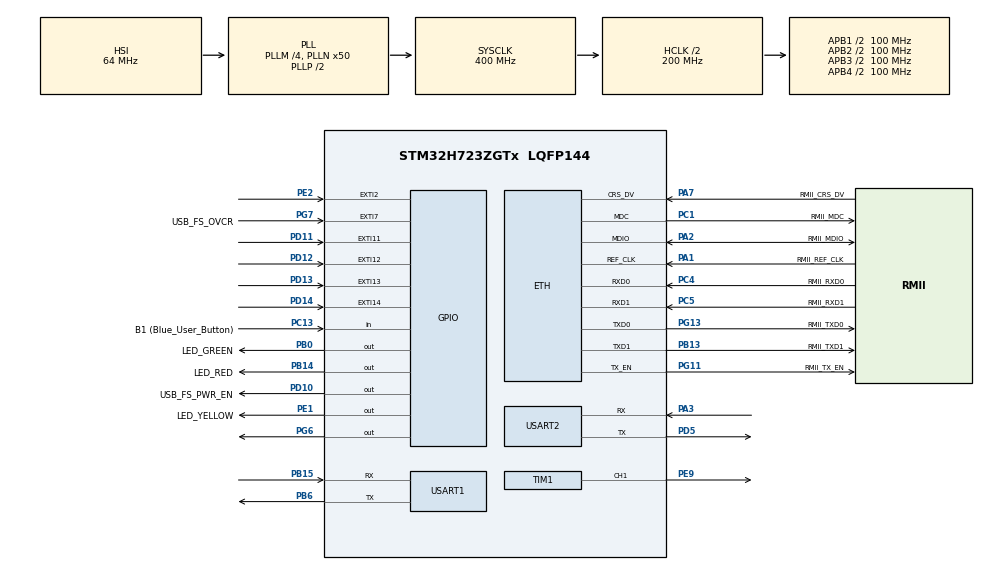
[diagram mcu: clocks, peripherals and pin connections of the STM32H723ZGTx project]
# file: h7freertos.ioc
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CORTEX_M7.AccessPermission-Cortex_Memory_Protection_Unit_Region0_Settings=MPU_REGION_FULL_ACCESS
CORTEX_M7.AccessPermission-Cortex_Memory_Protection_Unit_Region1_Settings=MPU_REGION_FULL_ACCESS
CORTEX_M7.BaseAddress-Cortex_Memory_Protection_Unit_Region0_Settings=0x30000000
CORTEX_M7.BaseAddress-Cortex_Memory_Protection_Unit_Region1_Settings=0x30004000
CORTEX_M7.CPU_DCache=Enabled
CORTEX_M7.CPU_ICache=Enabled
CORTEX_M7.DisableExec-Cortex_Memory_Protection_Unit_Region0_Settings=MPU_INSTRUCTION_ACCESS_ENABLE
CORTEX_M7.DisableExec-Cortex_Memory_Protection_Unit_Region1_Settings=MPU_INSTRUCTION_ACCESS_ENABLE
CORTEX_M7.Enable-Cortex_Memory_Protection_Unit_Region0_Settings=MPU_REGION_ENABLE
CORTEX_M7.Enable-Cortex_Memory_Protection_Unit_Region1_Settings=MPU_REGION_ENABLE
CORTEX_M7.IsBufferable-Cortex_Memory_Protection_Unit_Region0_Settings=MPU_ACCESS_BUFFERABLE
CORTEX_M7.IsBufferable-Cortex_Memory_Protection_Unit_Region1_Settings=MPU_ACCESS_NOT_BUFFERABLE
CORTEX_M7.IsShareable-Cortex_Memory_Protection_Unit_Region1_Settings=MPU_ACCESS_SHAREABLE
CORTEX_M7.MPU_Control=MPU_PRIVILEGED_DEFAULT
CORTEX_M7.Size-Cortex_Memory_Protection_Unit_Region0_Settings=MPU_REGION_SIZE_256B
CORTEX_M7.Size-Cortex_Memory_Protection_Unit_Region1_Settings=MPU_REGION_SIZE_16KB
CORTEX_M7.TypeExtField-Cortex_Memory_Protection_Unit_Region0_Settings=MPU_TEX_LEVEL0
CORTEX_M7.TypeExtField-Cortex_Memory_Protection_Unit_Region1_Settings=MPU_TEX_LEVEL1
Dma.Request0=USART1_TX
Dma.USART1_TX.0.Direction=DMA_MEMORY_TO_PERIPH
Dma.USART1_TX.0.EventEnable=DISABLE
Dma.USART1_TX.0.FIFOMode=DMA_FIFOMODE_DISABLE
Dma.USART1_TX.0.Instance=DMA1_Stream0
Dma.USART1_TX.0.MemDataAlignment=DMA_MDATAALIGN_BYTE
Dma.USART1_TX.0.MemInc=DMA_MINC_ENABLE
Dma.USART1_TX.0.Mode=DMA_NORMAL
Dma.USART1_TX.0.PeriphDataAlignment=DMA_PDATAALIGN_BYTE
Dma.USART1_TX.0.PeriphInc=DMA_PINC_DISABLE
Dma.USART1_TX.0.Polarity=HAL_DMAMUX_REQ_GEN_RISING
Dma.USART1_TX.0.Priority=DMA_PRIORITY_LOW
Dma.USART1_TX.0.RequestNumber=1
Dma.USART1_TX.0.SignalID=NONE
Dma.USART1_TX.0.SyncEnable=DISABLE
Dma.USART1_TX.0.SyncPolarity=HAL_DMAMUX_SYNC_NO_EVENT
Dma.USART1_TX.0.SyncRequestNumber=1
Dma.USART1_TX.0.SyncSignalID=NONE
ETH.MediaInterface=HAL_ETH_RMII_MODE
ETH.RxDescAddress=0x30000000
FREERTOS.Tasks01=defaultTask,0,256,StartDefaultTask,Default,NULL,Dynamic,NULL,NULL
FREERTOS.configCHECK_FOR_STACK_OVERFLOW=2
FREERTOS.configMINIMAL_STACK_SIZE=256
FREERTOS.configTOTAL_HEAP_SIZE=32768
LWIP.BSP.number=1
LWIP.CHECKSUM_CHECK_ICMP=1
LWIP.CHECKSUM_GEN_ICMP=1
LWIP.CHECKSUM_GEN_TCP=1
LWIP.GATEWAY_ADDRESS=169.254.024.255
LWIP.IP_ADDRESS=169.254.024.157
LWIP.LWIP_DHCP=0
LWIP.LWIP_HTTPD=0
LWIP.LWIP_RAM_HEAP_POINTER=0x30004000
LWIP.MEM_SIZE=1600
LWIP.NETMASK_ADDRESS=255.255.255.000
LWIP.Version=v2.1.2_Cube
LWIP0.BSP.STBoard=false
LWIP0.BSP.api=BSP_COMPONENT_DRIVER
LWIP0.BSP.component=LAN8742
LWIP0.BSP.i2caddr=0
LWIP0.BSP.instance=LAN8742
LWIP0.BSP.name=Driver_PHY
LWIP0.BSP.solution=LAN8742
Mcu.Family=STM32H7
Mcu.Name=STM32H723ZGTx
Mcu.Package=LQFP144
NVIC.DMA1_Stream0_IRQn=true\:5\:0\:false\:false\:true\:true\:false\:true
NVIC.ETH_IRQn=true\:5\:0\:false\:false\:true\:true\:true\:true
NVIC.EXTI15_10_IRQn=true\:5\:0\:true\:false\:true\:true\:true\:true
NVIC.EXTI2_IRQn=true\:5\:0\:true\:false\:true\:true\:true\:true
NVIC.EXTI9_5_IRQn=true\:5\:0\:false\:false\:true\:true\:true\:true
NVIC.PriorityGroup=NVIC_PRIORITYGROUP_4
NVIC.TIM6_DAC_IRQn=true\:0\:0\:false\:false\:true\:false\:false\:true
NVIC.TimeBase=TIM6_DAC_IRQn
NVIC.TimeBaseIP=TIM6
NVIC.USART1_IRQn=true\:5\:0\:false\:false\:true\:true\:true\:true
PA1.GPIO_Label=RMII_REF_CLK
PA1.GPIO_Speed=GPIO_SPEED_FREQ_VERY_HIGH
PA1.Mode=RMII
PA1.Signal=ETH_REF_CLK
PA10.GPIO_Label=USB_FS_ID
PA10.Signal=USB_OTG_HS_ID
PA13(JTMS/SWDIO).GPIO_Label=SWDIO
PA13(JTMS/SWDIO).Signal=DEBUG_JTMS-SWDIO
PA14(JTCK/SWCLK).GPIO_Label=SWCLK
PA14(JTCK/SWCLK).Signal=DEBUG_JTCK-SWCLK
PA2.GPIO_Label=RMII_MDIO
PA2.GPIO_Speed=GPIO_SPEED_FREQ_VERY_HIGH
PA2.Mode=RMII
PA2.Signal=ETH_MDIO
PA3.Mode=Asynchronous
PA3.Signal=USART2_RX
PA7.GPIO_Label=RMII_CRS_DV
PA7.GPIO_Speed=GPIO_SPEED_FREQ_VERY_HIGH
PA7.Mode=RMII
PA7.Signal=ETH_CRS_DV
PA9.GPIO_Label=USB_FS_VBUS
PA9.Signal=USB_OTG_HS_VBUS
PB0.GPIO_Label=LED_GREEN
PB0.Signal=GPIO_Output
PB13.GPIO_Label=RMII_TXD1
PB13.GPIO_Speed=GPIO_SPEED_FREQ_VERY_HIGH
PB13.Mode=RMII
PB13.Signal=ETH_TXD1
PB14.GPIO_Label=LED_RED
PB14.Signal=GPIO_Output
PB15.Mode=Asynchronous
PB15.Signal=USART1_RX
PB3(JTDO/TRACESWO).GPIO_Label=SWO
PB3(JTDO/TRACESWO).Signal=DEBUG_JTDO-SWO
PB6.Mode=Asynchronous
PB6.Signal=USART1_TX
PC1.GPIO_Label=RMII_MDC
PC1.GPIO_Speed=GPIO_SPEED_FREQ_VERY_HIGH
PC1.Mode=RMII
PC1.Signal=ETH_MDC
PC13.GPIO_Label=B1 (Blue_User_Button)
PC13.Signal=GPIO_Input
PC14-OSC32_IN.Mode=LSE-External-Oscillator
PC14-OSC32_IN.Signal=RCC_OSC32_IN
PC15-OSC32_OUT.Mode=LSE-External-Oscillator
PC15-OSC32_OUT.Signal=RCC_OSC32_OUT
PC4.GPIO_Label=RMII_RXD0
PC4.GPIO_Speed=GPIO_SPEED_FREQ_VERY_HIGH
PC4.Mode=RMII
PC4.Signal=ETH_RXD0
PC5.GPIO_Label=RMII_RXD1
PC5.GPIO_Speed=GPIO_SPEED_FREQ_VERY_HIGH
PC5.Mode=RMII
PC5.Signal=ETH_RXD1
PD10.GPIO_Label=USB_FS_PWR_EN
PD10.Signal=GPIO_Output
PD11.Signal=GPXTI11
PD12.Signal=GPXTI12
PD13.Signal=GPXTI13
PD14.Signal=GPXTI14
PD5.Mode=Asynchronous
PD5.Signal=USART2_TX
PD8.GPIO_Label=STLK_VCP_RX
PD8.Signal=USART3_TX
PD9.GPIO_Label=STLK_VCP_TX
PD9.Signal=USART3_RX
PE1.GPIO_Label=LED_YELLOW
PE1.Signal=GPIO_Output
PE2.Signal=GPXTI2
PE9.Signal=S_TIM1_CH1
PG11.GPIO_Label=RMII_TX_EN
PG11.GPIO_Speed=GPIO_SPEED_FREQ_VERY_HIGH
PG11.Mode=RMII
PG11.Signal=ETH_TX_EN
PG13.GPIO_Label=RMII_TXD0
PG13.GPIO_Speed=GPIO_SPEED_FREQ_VERY_HIGH
PG13.Mode=RMII
PG13.Signal=ETH_TXD0
PG6.GPIO_PuPd=GPIO_PULLDOWN
PG6.GPIO_Speed=GPIO_SPEED_FREQ_HIGH
PG6.Signal=GPIO_Output
PG7.GPIO_Label=USB_FS_OVCR
PG7.Signal=GPXTI7
PH0-OSC_IN.GPIO_Label=MCO
PH0-OSC_IN.Mode=HSE-External-Clock-Source
PH0-OSC_IN.Signal=RCC_OSC_IN
PH1-OSC_OUT.Signal=RCC_OSC_OUT
ProjectManager.HeapSize=0x2000
ProjectManager.StackSize=0x4000
ProjectManager.TargetToolchain=STM32CubeIDE
RCC.ADCFreq_Value=608000000
RCC.APB1Freq_Value=100000000
RCC.APB2Freq_Value=100000000
RCC.APB3Freq_Value=100000000
RCC.APB4Freq_Value=100000000
RCC.CortexFreq_Value=400000000
RCC.D1PPRE=RCC_APB3_DIV2
RCC.D2PPRE1=RCC_APB1_DIV2
RCC.D2PPRE2=RCC_APB2_DIV2
RCC.D3PPRE=RCC_APB4_DIV2
RCC.DIVM1=4
RCC.DIVM2=1
RCC.DIVN1=50
RCC.DIVN2=19
RCC.DIVQ1=4
RCC.HCLKFreq_Value=200000000
RCC.HPRE=RCC_HCLK_DIV2
RCC.HSE_VALUE=8000000
RCC.PLLFRACN=0
RCC.SYSCLKFreq_VALUE=400000000
RCC.SYSCLKSource=RCC_SYSCLKSOURCE_PLLCLK
RCC.USBCLockSelection=RCC_USBCLKSOURCE_HSI48
RCC.USBFreq_Value=48000000
SH.S_TIM1_CH1.0=TIM1_CH1,PWM Generation1 CH1
TIM1.Channel-PWM\ Generation1\ CH1=TIM_CHANNEL_1
USART1.VirtualMode-Asynchronous=VM_ASYNC
USART2.VirtualMode-Asynchronous=VM_ASYNC
VP_FREERTOS_VS_CMSIS_V1.Mode=CMSIS_V1
VP_LWIP_VS_Enabled.Mode=Enabled
VP_RNG_VS_RNG.Mode=RNG_Activate
VP_RTC_VS_RTC_Activate.Mode=RTC_Enabled
VP_SYS_VS_tim6.Mode=TIM6
VP_TIM1_VS_ClockSourceINT.Mode=Internal
board=NUCLEO-H723ZG

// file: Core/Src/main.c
/* USER CODE BEGIN Header */
/**
  ******************************************************************************
  * @file           : main.c
  * @brief          : Main program body
  ******************************************************************************
  * @attention
  *
  * <h2><center>&copy; Copyright (c) 2021 STMicroelectronics.
  * All rights reserved.</center></h2>
  *
  * This software component is licensed by ST under Ultimate Liberty license
  * SLA0044, the "License"; You may not use this file except in compliance with
  * the License. You may obtain a copy of the License at:
  *                             www.st.com/SLA0044
  *
  ******************************************************************************
  */
/* USER CODE END Header */
#include "main.h"
#include "cmsis_os.h"
#include "lwip.h"

/* USER CODE BEGIN Includes */
#include <string.h>
#include "cmsis_os.h"
#include "lwip.h"
#include "lwip/api.h"
/* USER CODE END Includes */

RNG_HandleTypeDef hrng;

RTC_HandleTypeDef hrtc;

TIM_HandleTypeDef htim1;

UART_HandleTypeDef huart1;
UART_HandleTypeDef huart2;
DMA_HandleTypeDef hdma_usart1_tx;

osThreadId defaultTaskHandle;
/* USER CODE BEGIN PV */
osThreadId echoTaskHandle;
osThreadId tcpClientTask;
extern struct netif gnetif;
osThreadId tcpClientTaskHandle;
ip_addr_t server_addr;
/* USER CODE END PV */

void SystemClock_Config(void);
static void MPU_Config(void);
static void MX_GPIO_Init(void);
static void MX_DMA_Init(void);
static void MX_RNG_Init(void);
static void MX_RTC_Init(void);
static void MX_USART1_UART_Init(void);
static void MX_TIM1_Init(void);
static void MX_USART2_UART_Init(void);
void StartDefaultTask(void const * argument);

/* USER CODE BEGIN PFP */
#define SERVER_IP_1_ADDR 169
#define SERVER_IP_2_ADDR 254
#define SERVER_IP_3_ADDR 24
#define SERVER_IP_4_ADDR 21
#define SERVER_PORT 	 1001
/* USER CODE END PFP */

/* USER CODE BEGIN 0 */

typedef enum
{
  REQ = 0,
  RESP = 1
} packet_type;

void StartEchoTask(void const *argument)
{
  struct netconn *conn, *newconn;
  err_t err, accept_err;
  struct netbuf *buf;
  void *data;
  u16_t len;

  LWIP_UNUSED_ARG(argument);

  conn = netconn_new(NETCONN_TCP);

  if (conn != NULL) {
    err = netconn_bind(conn, NULL, 1001);

    if (err == ERR_OK) {
      netconn_listen(conn);

      while (1) {
        accept_err = netconn_accept(conn, &newconn);

        if (accept_err == ERR_OK) {
          while (netconn_recv(newconn, &buf) == ERR_OK) {
            do {
              netbuf_data(buf, &data, &len);
              netconn_write(newconn, data, len, NETCONN_COPY);
        	  HAL_UART_Transmit(&huart1, (uint8_t*)data, len, 1000);
              HAL_GPIO_TogglePin(GPIOB, GPIO_PIN_0);
            }
            while (netbuf_next(buf) >= 0);
            netbuf_delete(buf);
          }

          netconn_close(newconn);
          netconn_delete(newconn);
        }
      }
    }
    else {
      netconn_delete(newconn);
    }
  }
}

uint8_t recData[100] = {0x00};

void StartTcpClientTask(void const *argument)
{
  err_t err;
  struct netconn *conn;
  struct netbuf *buf;
  void *data;
  uint16_t len; //buffer length

  LWIP_UNUSED_ARG(argument);

  while (1)
  {
    if (gnetif.ip_addr.addr == 0 || gnetif.netmask.addr == 0 || gnetif.gw.addr == 0) {
      osDelay(1000);
      continue;
    }
    else {
      osDelay(20);
    }

    conn = netconn_new(NETCONN_TCP);

    if (conn != NULL) {
      IP4_ADDR(&server_addr, SERVER_IP_1_ADDR, SERVER_IP_2_ADDR, SERVER_IP_3_ADDR, SERVER_IP_4_ADDR);
      err = netconn_connect(conn, &server_addr, SERVER_PORT);

      if (err != ERR_OK) {
        netconn_delete(conn);
        continue;
      }
  	  HAL_UART_Transmit(&huart1, (uint8_t*)"zzz\r\n", 5, 1000);

  	  while (netconn_recv(conn, &buf) == ERR_OK) {
  		  do {
  	          netbuf_data(buf, &data, &len);
  	          memcpy(recData, data, len);

  	          netconn_write(conn, data, len, NETCONN_COPY);
  	          HAL_UART_Transmit(&huart1, (uint8_t*)"REC: ", 5, 1000);
  	    	  HAL_UART_Transmit(&huart1, (uint8_t*)&recData[0], len, 1000);
  	          HAL_UART_Transmit(&huart1, (uint8_t*)"\r\n", 2, 1000);
  	          HAL_GPIO_TogglePin(GPIOB, GPIO_PIN_0);

  	          if(recData[0] == 'c' && recData[1] == 'l' && recData[2] == 'o') {
  	    		  HAL_UART_Transmit(&huart1, (uint8_t*)"CLOSE", 5, 1000);
  	    	      netconn_close(conn);
  	    		  netconn_delete(conn);
  	    	  }

  	        } while (netbuf_next(buf) >= 0);
  	        netbuf_delete(buf);
  	   }

       netconn_close(conn);
	   netconn_delete(conn);

    }
  }
}

void StartServerTask(void)
{
	osThreadDef(echoTask, StartEchoTask, osPriorityNormal, 0, configMINIMAL_STACK_SIZE);
	echoTaskHandle = osThreadCreate(osThread(echoTask), NULL);
}

void StartClientTask(void)
{
	osThreadDef(tcpClientTask, StartTcpClientTask, osPriorityNormal, 0, configMINIMAL_STACK_SIZE);
	tcpClientTaskHandle = osThreadCreate(osThread(tcpClientTask), NULL);
}

/* USER CODE END 0 */

int main(void)
{

  /* MPU Configuration--------------------------------------------------------*/
  //MPU_Config();

  /* Enable I-Cache---------------------------------------------------------*/
  //SCB_EnableICache();

  /* Enable D-Cache---------------------------------------------------------*/
  //SCB_EnableDCache();

  /* MCU Configuration--------------------------------------------------------*/

  /* Reset of all peripherals, Initializes the Flash interface and the Systick. */
  HAL_Init();

  /* Configure the system clock */
  SystemClock_Config();

  /* Initialize all configured peripherals */
  MX_GPIO_Init();
  MX_DMA_Init();
  MX_RNG_Init();
  MX_RTC_Init();
  MX_USART1_UART_Init();
  MX_TIM1_Init();
  MX_USART2_UART_Init();

  /* Create the thread(s) */
  /* definition and creation of defaultTask */
  osThreadDef(defaultTask, StartDefaultTask, osPriorityNormal, 0, 256);
  defaultTaskHandle = osThreadCreate(osThread(defaultTask), NULL);

  /* Start scheduler */
  osKernelStart();

  /* We should never get here as control is now taken by the scheduler */
  /* Infinite loop */
  while (1)
  {

  }
}

void SystemClock_Config(void)
{
  RCC_OscInitTypeDef RCC_OscInitStruct = {0};
  RCC_ClkInitTypeDef RCC_ClkInitStruct = {0};
  RCC_PeriphCLKInitTypeDef PeriphClkInitStruct = {0};

  /** Supply configuration update enable
  */
  HAL_PWREx_ConfigSupply(PWR_LDO_SUPPLY);
  /** Configure the main internal regulator output voltage
  */
  __HAL_PWR_VOLTAGESCALING_CONFIG(PWR_REGULATOR_VOLTAGE_SCALE1);

  while(!__HAL_PWR_GET_FLAG(PWR_FLAG_VOSRDY)) {}
  /** Initializes the RCC Oscillators according to the specified parameters
  * in the RCC_OscInitTypeDef structure.
  */
  RCC_OscInitStruct.OscillatorType = RCC_OSCILLATORTYPE_HSI48|RCC_OSCILLATORTYPE_HSI
                              |RCC_OSCILLATORTYPE_LSI;
  RCC_OscInitStruct.HSIState = RCC_HSI_DIV1;
  RCC_OscInitStruct.HSICalibrationValue = RCC_HSICALIBRATION_DEFAULT;
  RCC_OscInitStruct.LSIState = RCC_LSI_ON;
  RCC_OscInitStruct.HSI48State = RCC_HSI48_ON;
  RCC_OscInitStruct.PLL.PLLState = RCC_PLL_ON;
  RCC_OscInitStruct.PLL.PLLSource = RCC_PLLSOURCE_HSI;
  RCC_OscInitStruct.PLL.PLLM = 4;
  RCC_OscInitStruct.PLL.PLLN = 50;
  RCC_OscInitStruct.PLL.PLLP = 2;
  RCC_OscInitStruct.PLL.PLLQ = 4;
  RCC_OscInitStruct.PLL.PLLR = 2;
  RCC_OscInitStruct.PLL.PLLRGE = RCC_PLL1VCIRANGE_3;
  RCC_OscInitStruct.PLL.PLLVCOSEL = RCC_PLL1VCOWIDE;
  RCC_OscInitStruct.PLL.PLLFRACN = 0;
  if (HAL_RCC_OscConfig(&RCC_OscInitStruct) != HAL_OK)
  {
    Error_Handler();
  }
  /** Initializes the CPU, AHB and APB buses clocks
  */
  RCC_ClkInitStruct.ClockType = RCC_CLOCKTYPE_HCLK|RCC_CLOCKTYPE_SYSCLK
                              |RCC_CLOCKTYPE_PCLK1|RCC_CLOCKTYPE_PCLK2
                              |RCC_CLOCKTYPE_D3PCLK1|RCC_CLOCKTYPE_D1PCLK1;
  RCC_ClkInitStruct.SYSCLKSource = RCC_SYSCLKSOURCE_PLLCLK;
  RCC_ClkInitStruct.SYSCLKDivider = RCC_SYSCLK_DIV1;
  RCC_ClkInitStruct.AHBCLKDivider = RCC_HCLK_DIV2;
  RCC_ClkInitStruct.APB3CLKDivider = RCC_APB3_DIV2;
  RCC_ClkInitStruct.APB1CLKDivider = RCC_APB1_DIV2;
  RCC_ClkInitStruct.APB2CLKDivider = RCC_APB2_DIV2;
  RCC_ClkInitStruct.APB4CLKDivider = RCC_APB4_DIV2;

  if (HAL_RCC_ClockConfig(&RCC_ClkInitStruct, FLASH_LATENCY_2) != HAL_OK)
  {
    Error_Handler();
  }
  PeriphClkInitStruct.PeriphClockSelection = RCC_PERIPHCLK_RTC|RCC_PERIPHCLK_USART2
                              |RCC_PERIPHCLK_USART1|RCC_PERIPHCLK_RNG;
  PeriphClkInitStruct.Usart234578ClockSelection = RCC_USART234578CLKSOURCE_D2PCLK1;
  PeriphClkInitStruct.Usart16ClockSelection = RCC_USART16910CLKSOURCE_D2PCLK2;
  PeriphClkInitStruct.RngClockSelection = RCC_RNGCLKSOURCE_HSI48;
  PeriphClkInitStruct.RTCClockSelection = RCC_RTCCLKSOURCE_LSI;
  if (HAL_RCCEx_PeriphCLKConfig(&PeriphClkInitStruct) != HAL_OK)
  {
    Error_Handler();
  }
}

static void MX_RNG_Init(void)
{

  hrng.Instance = RNG;
  hrng.Init.ClockErrorDetection = RNG_CED_ENABLE;
  if (HAL_RNG_Init(&hrng) != HAL_OK)
  {
    Error_Handler();
  }

}

static void MX_RTC_Init(void)
{

  /** Initialize RTC Only
  */
  hrtc.Instance = RTC;
  hrtc.Init.HourFormat = RTC_HOURFORMAT_24;
  hrtc.Init.AsynchPrediv = 127;
  hrtc.Init.SynchPrediv = 255;
  hrtc.Init.OutPut = RTC_OUTPUT_DISABLE;
  hrtc.Init.OutPutPolarity = RTC_OUTPUT_POLARITY_HIGH;
  hrtc.Init.OutPutType = RTC_OUTPUT_TYPE_OPENDRAIN;
  hrtc.Init.OutPutRemap = RTC_OUTPUT_REMAP_NONE;
  if (HAL_RTC_Init(&hrtc) != HAL_OK)
  {
    Error_Handler();
  }

}

static void MX_TIM1_Init(void)
{

  TIM_ClockConfigTypeDef sClockSourceConfig = {0};
  TIM_MasterConfigTypeDef sMasterConfig = {0};
  TIM_OC_InitTypeDef sConfigOC = {0};
  TIM_BreakDeadTimeConfigTypeDef sBreakDeadTimeConfig = {0};

  htim1.Instance = TIM1;
  htim1.Init.Prescaler = 0;
  htim1.Init.CounterMode = TIM_COUNTERMODE_UP;
  htim1.Init.Period = 65535;
  htim1.Init.ClockDivision = TIM_CLOCKDIVISION_DIV1;
  htim1.Init.RepetitionCounter = 0;
  htim1.Init.AutoReloadPreload = TIM_AUTORELOAD_PRELOAD_DISABLE;
  if (HAL_TIM_Base_Init(&htim1) != HAL_OK)
  {
    Error_Handler();
  }
  sClockSourceConfig.ClockSource = TIM_CLOCKSOURCE_INTERNAL;
  if (HAL_TIM_ConfigClockSource(&htim1, &sClockSourceConfig) != HAL_OK)
  {
    Error_Handler();
  }
  if (HAL_TIM_PWM_Init(&htim1) != HAL_OK)
  {
    Error_Handler();
  }
  sMasterConfig.MasterOutputTrigger = TIM_TRGO_RESET;
  sMasterConfig.MasterOutputTrigger2 = TIM_TRGO2_RESET;
  sMasterConfig.MasterSlaveMode = TIM_MASTERSLAVEMODE_DISABLE;
  if (HAL_TIMEx_MasterConfigSynchronization(&htim1, &sMasterConfig) != HAL_OK)
  {
    Error_Handler();
  }
  sConfigOC.OCMode = TIM_OCMODE_PWM1;
  sConfigOC.Pulse = 0;
  sConfigOC.OCPolarity = TIM_OCPOLARITY_HIGH;
  sConfigOC.OCNPolarity = TIM_OCNPOLARITY_HIGH;
  sConfigOC.OCFastMode = TIM_OCFAST_DISABLE;
  sConfigOC.OCIdleState = TIM_OCIDLESTATE_RESET;
  sConfigOC.OCNIdleState = TIM_OCNIDLESTATE_RESET;
  if (HAL_TIM_PWM_ConfigChannel(&htim1, &sConfigOC, TIM_CHANNEL_1) != HAL_OK)
  {
    Error_Handler();
  }
  sBreakDeadTimeConfig.OffStateRunMode = TIM_OSSR_DISABLE;
  sBreakDeadTimeConfig.OffStateIDLEMode = TIM_OSSI_DISABLE;
  sBreakDeadTimeConfig.LockLevel = TIM_LOCKLEVEL_OFF;
  sBreakDeadTimeConfig.DeadTime = 0;
  sBreakDeadTimeConfig.BreakState = TIM_BREAK_DISABLE;
  sBreakDeadTimeConfig.BreakPolarity = TIM_BREAKPOLARITY_HIGH;
  sBreakDeadTimeConfig.BreakFilter = 0;
  sBreakDeadTimeConfig.Break2State = TIM_BREAK2_DISABLE;
  sBreakDeadTimeConfig.Break2Polarity = TIM_BREAK2POLARITY_HIGH;
  sBreakDeadTimeConfig.Break2Filter = 0;
  sBreakDeadTimeConfig.AutomaticOutput = TIM_AUTOMATICOUTPUT_DISABLE;
  if (HAL_TIMEx_ConfigBreakDeadTime(&htim1, &sBreakDeadTimeConfig) != HAL_OK)
  {
    Error_Handler();
  }
  HAL_TIM_MspPostInit(&htim1);

}

static void MX_USART1_UART_Init(void)
{

  huart1.Instance = USART1;
  huart1.Init.BaudRate = 115200;
  huart1.Init.WordLength = UART_WORDLENGTH_8B;
  huart1.Init.StopBits = UART_STOPBITS_1;
  huart1.Init.Parity = UART_PARITY_NONE;
  huart1.Init.Mode = UART_MODE_TX_RX;
  huart1.Init.HwFlowCtl = UART_HWCONTROL_NONE;
  huart1.Init.OverSampling = UART_OVERSAMPLING_16;
  huart1.Init.OneBitSampling = UART_ONE_BIT_SAMPLE_DISABLE;
  huart1.Init.ClockPrescaler = UART_PRESCALER_DIV1;
  huart1.AdvancedInit.AdvFeatureInit = UART_ADVFEATURE_NO_INIT;
  if (HAL_UART_Init(&huart1) != HAL_OK)
  {
    Error_Handler();
  }
  if (HAL_UARTEx_SetTxFifoThreshold(&huart1, UART_TXFIFO_THRESHOLD_1_8) != HAL_OK)
  {
    Error_Handler();
  }
  if (HAL_UARTEx_SetRxFifoThreshold(&huart1, UART_RXFIFO_THRESHOLD_1_8) != HAL_OK)
  {
    Error_Handler();
  }
  if (HAL_UARTEx_DisableFifoMode(&huart1) != HAL_OK)
  {
    Error_Handler();
  }

}

static void MX_USART2_UART_Init(void)
{

  huart2.Instance = USART2;
  huart2.Init.BaudRate = 115200;
  huart2.Init.WordLength = UART_WORDLENGTH_8B;
  huart2.Init.StopBits = UART_STOPBITS_1;
  huart2.Init.Parity = UART_PARITY_NONE;
  huart2.Init.Mode = UART_MODE_TX_RX;
  huart2.Init.HwFlowCtl = UART_HWCONTROL_NONE;
  huart2.Init.OverSampling = UART_OVERSAMPLING_16;
  huart2.Init.OneBitSampling = UART_ONE_BIT_SAMPLE_DISABLE;
  huart2.Init.ClockPrescaler = UART_PRESCALER_DIV1;
  huart2.AdvancedInit.AdvFeatureInit = UART_ADVFEATURE_NO_INIT;
  if (HAL_UART_Init(&huart2) != HAL_OK)
  {
    Error_Handler();
  }
  if (HAL_UARTEx_SetTxFifoThreshold(&huart2, UART_TXFIFO_THRESHOLD_1_8) != HAL_OK)
  {
    Error_Handler();
  }
  if (HAL_UARTEx_SetRxFifoThreshold(&huart2, UART_RXFIFO_THRESHOLD_1_8) != HAL_OK)
  {
    Error_Handler();
  }
  if (HAL_UARTEx_DisableFifoMode(&huart2) != HAL_OK)
  {
    Error_Handler();
  }

}

static void MX_DMA_Init(void)
{

  /* DMA controller clock enable */
  __HAL_RCC_DMA1_CLK_ENABLE();

  /* DMA interrupt init */
  /* DMA1_Stream0_IRQn interrupt configuration */
  HAL_NVIC_SetPriority(DMA1_Stream0_IRQn, 5, 0);
  HAL_NVIC_EnableIRQ(DMA1_Stream0_IRQn);

}

static void MX_GPIO_Init(void)
{
  GPIO_InitTypeDef GPIO_InitStruct = {0};

  /* GPIO Ports Clock Enable */
  __HAL_RCC_GPIOE_CLK_ENABLE();
  __HAL_RCC_GPIOC_CLK_ENABLE();
  __HAL_RCC_GPIOH_CLK_ENABLE();
  __HAL_RCC_GPIOA_CLK_ENABLE();
  __HAL_RCC_GPIOB_CLK_ENABLE();
  __HAL_RCC_GPIOD_CLK_ENABLE();
  __HAL_RCC_GPIOG_CLK_ENABLE();

  /*Configure GPIO pin Output Level */
  HAL_GPIO_WritePin(GPIOB, LED_GREEN_Pin|LED_RED_Pin, GPIO_PIN_RESET);

  /*Configure GPIO pin Output Level */
  HAL_GPIO_WritePin(USB_FS_PWR_EN_GPIO_Port, USB_FS_PWR_EN_Pin, GPIO_PIN_RESET);

  /*Configure GPIO pin Output Level */
  HAL_GPIO_WritePin(GPIOG, GPIO_PIN_6, GPIO_PIN_RESET);

  /*Configure GPIO pin Output Level */
  HAL_GPIO_WritePin(LED_YELLOW_GPIO_Port, LED_YELLOW_Pin, GPIO_PIN_RESET);

  /*Configure GPIO pin : PE2 */
  GPIO_InitStruct.Pin = GPIO_PIN_2;
  GPIO_InitStruct.Mode = GPIO_MODE_IT_RISING;
  GPIO_InitStruct.Pull = GPIO_NOPULL;
  HAL_GPIO_Init(GPIOE, &GPIO_InitStruct);

  /*Configure GPIO pin : B1_Pin */
  GPIO_InitStruct.Pin = B1_Pin;
  GPIO_InitStruct.Mode = GPIO_MODE_INPUT;
  GPIO_InitStruct.Pull = GPIO_NOPULL;
  HAL_GPIO_Init(B1_GPIO_Port, &GPIO_InitStruct);

  /*Configure GPIO pins : LED_GREEN_Pin LED_RED_Pin */
  GPIO_InitStruct.Pin = LED_GREEN_Pin|LED_RED_Pin;
  GPIO_InitStruct.Mode = GPIO_MODE_OUTPUT_PP;
  GPIO_InitStruct.Pull = GPIO_NOPULL;
  GPIO_InitStruct.Speed = GPIO_SPEED_FREQ_LOW;
  HAL_GPIO_Init(GPIOB, &GPIO_InitStruct);

  /*Configure GPIO pins : STLK_VCP_RX_Pin STLK_VCP_TX_Pin */
  GPIO_InitStruct.Pin = STLK_VCP_RX_Pin|STLK_VCP_TX_Pin;
  GPIO_InitStruct.Mode = GPIO_MODE_AF_PP;
  GPIO_InitStruct.Pull = GPIO_NOPULL;
  GPIO_InitStruct.Speed = GPIO_SPEED_FREQ_LOW;
  GPIO_InitStruct.Alternate = GPIO_AF7_USART3;
  HAL_GPIO_Init(GPIOD, &GPIO_InitStruct);

  /*Configure GPIO pin : USB_FS_PWR_EN_Pin */
  GPIO_InitStruct.Pin = USB_FS_PWR_EN_Pin;
  GPIO_InitStruct.Mode = GPIO_MODE_OUTPUT_PP;
  GPIO_InitStruct.Pull = GPIO_NOPULL;
  GPIO_InitStruct.Speed = GPIO_SPEED_FREQ_LOW;
  HAL_GPIO_Init(USB_FS_PWR_EN_GPIO_Port, &GPIO_InitStruct);

  /*Configure GPIO pins : PD11 PD12 PD13 PD14 */
  GPIO_InitStruct.Pin = GPIO_PIN_11|GPIO_PIN_12|GPIO_PIN_13|GPIO_PIN_14;
  GPIO_InitStruct.Mode = GPIO_MODE_IT_RISING;
  GPIO_InitStruct.Pull = GPIO_NOPULL;
  HAL_GPIO_Init(GPIOD, &GPIO_InitStruct);

  /*Configure GPIO pin : PG6 */
  GPIO_InitStruct.Pin = GPIO_PIN_6;
  GPIO_InitStruct.Mode = GPIO_MODE_OUTPUT_PP;
  GPIO_InitStruct.Pull = GPIO_PULLDOWN;
  GPIO_InitStruct.Speed = GPIO_SPEED_FREQ_HIGH;
  HAL_GPIO_Init(GPIOG, &GPIO_InitStruct);

  /*Configure GPIO pin : USB_FS_OVCR_Pin */
  GPIO_InitStruct.Pin = USB_FS_OVCR_Pin;
  GPIO_InitStruct.Mode = GPIO_MODE_IT_RISING;
  GPIO_InitStruct.Pull = GPIO_NOPULL;
  HAL_GPIO_Init(USB_FS_OVCR_GPIO_Port, &GPIO_InitStruct);

  /*Configure GPIO pin : USB_FS_ID_Pin */
  GPIO_InitStruct.Pin = USB_FS_ID_Pin;
  GPIO_InitStruct.Mode = GPIO_MODE_AF_PP;
  GPIO_InitStruct.Pull = GPIO_NOPULL;
  GPIO_InitStruct.Speed = GPIO_SPEED_FREQ_LOW;
  GPIO_InitStruct.Alternate = GPIO_AF10_OTG1_HS;
  HAL_GPIO_Init(USB_FS_ID_GPIO_Port, &GPIO_InitStruct);

  /*Configure GPIO pin : LED_YELLOW_Pin */
  GPIO_InitStruct.Pin = LED_YELLOW_Pin;
  GPIO_InitStruct.Mode = GPIO_MODE_OUTPUT_PP;
  GPIO_InitStruct.Pull = GPIO_NOPULL;
  GPIO_InitStruct.Speed = GPIO_SPEED_FREQ_LOW;
  HAL_GPIO_Init(LED_YELLOW_GPIO_Port, &GPIO_InitStruct);

  /* EXTI interrupt init*/
  HAL_NVIC_SetPriority(EXTI2_IRQn, 5, 0);
  HAL_NVIC_EnableIRQ(EXTI2_IRQn);

  HAL_NVIC_SetPriority(EXTI9_5_IRQn, 5, 0);
  HAL_NVIC_EnableIRQ(EXTI9_5_IRQn);

  HAL_NVIC_SetPriority(EXTI15_10_IRQn, 5, 0);
  HAL_NVIC_EnableIRQ(EXTI15_10_IRQn);

}

void StartDefaultTask(void const * argument)
{
  /* init code for LWIP */
  MX_LWIP_Init();
  /* USER CODE BEGIN 5 */
  //osThreadDef(echoTask, StartEchoTask, osPriorityNormal, 0, configMINIMAL_STACK_SIZE);
  //echoTaskHandle = osThreadCreate(osThread(echoTask), NULL);
  //GPIOE->BSRR = (uint32_t)GPIO_PIN_1 << 16U;
  //StartServerTask();
  StartClientTask();
  /* Infinite loop */
  for(;;)
  {
	  osDelay(500);
  }
  /* USER CODE END 5 */
}

/* MPU Configuration */

void MPU_Config(void)
{
  MPU_Region_InitTypeDef MPU_InitStruct = {0};

  /* Disables the MPU */
  HAL_MPU_Disable();
  /** Initializes and configures the Region and the memory to be protected
  */
  MPU_InitStruct.Enable = MPU_REGION_ENABLE;
  MPU_InitStruct.Number = MPU_REGION_NUMBER0;
  MPU_InitStruct.BaseAddress = 0x30000000;
  MPU_InitStruct.Size = MPU_REGION_SIZE_256B;
  MPU_InitStruct.SubRegionDisable = 0x0;
  MPU_InitStruct.TypeExtField = MPU_TEX_LEVEL0;
  MPU_InitStruct.AccessPermission = MPU_REGION_FULL_ACCESS;
  MPU_InitStruct.DisableExec = MPU_INSTRUCTION_ACCESS_ENABLE;
  MPU_InitStruct.IsShareable = MPU_ACCESS_NOT_SHAREABLE;
  MPU_InitStruct.IsCacheable = MPU_ACCESS_NOT_CACHEABLE;
  MPU_InitStruct.IsBufferable = MPU_ACCESS_BUFFERABLE;

  HAL_MPU_ConfigRegion(&MPU_InitStruct);
  /** Initializes and configures the Region and the memory to be protected
  */
  MPU_InitStruct.Enable = MPU_REGION_ENABLE;
  MPU_InitStruct.Number = MPU_REGION_NUMBER1;
  MPU_InitStruct.BaseAddress = 0x30004000;
  MPU_InitStruct.Size = MPU_REGION_SIZE_16KB;
  MPU_InitStruct.SubRegionDisable = 0x0;
  MPU_InitStruct.TypeExtField = MPU_TEX_LEVEL1;
  MPU_InitStruct.AccessPermission = MPU_REGION_FULL_ACCESS;
  MPU_InitStruct.DisableExec = MPU_INSTRUCTION_ACCESS_ENABLE;
  MPU_InitStruct.IsShareable = MPU_ACCESS_SHAREABLE;
  MPU_InitStruct.IsCacheable = MPU_ACCESS_NOT_CACHEABLE;
  MPU_InitStruct.IsBufferable = MPU_ACCESS_NOT_BUFFERABLE;

  HAL_MPU_ConfigRegion(&MPU_InitStruct);
  /* Enables the MPU */
  HAL_MPU_Enable(MPU_PRIVILEGED_DEFAULT);

}
void HAL_TIM_PeriodElapsedCallback(TIM_HandleTypeDef *htim)
{
  if (htim->Instance == TIM6) {
    HAL_IncTick();
  }
}

void Error_Handler(void)
{
  __disable_irq();
  while (1)
  {
  }
}

/************************ (C) COPYRIGHT STMicroelectronics *****END OF FILE****/

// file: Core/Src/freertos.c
/* USER CODE BEGIN Header */
/**
  ******************************************************************************
  * File Name          : freertos.c
  * Description        : Code for freertos applications
  ******************************************************************************
  * @attention
  *
  * <h2><center>&copy; Copyright (c) 2021 STMicroelectronics.
  * All rights reserved.</center></h2>
  *
  * This software component is licensed by ST under Ultimate Liberty license
  * SLA0044, the "License"; You may not use this file except in compliance with
  * the License. You may obtain a copy of the License at:
  *                             www.st.com/SLA0044
  *
  ******************************************************************************
  */
/* USER CODE END Header */

#include "FreeRTOS.h"
#include "task.h"
#include "main.h"

/* USER CODE BEGIN FunctionPrototypes */
/* GetIdleTaskMemory prototype (linked to static allocation support) */
void vApplicationGetIdleTaskMemory( StaticTask_t **ppxIdleTaskTCBBuffer, StackType_t **ppxIdleTaskStackBuffer, uint32_t *pulIdleTaskStackSize );

/* Hook prototypes */
void vApplicationStackOverflowHook(xTaskHandle xTask, signed char *pcTaskName);
/* USER CODE END FunctionPrototypes */

/* GetIdleTaskMemory prototype (linked to static allocation support) */
void vApplicationGetIdleTaskMemory( StaticTask_t **ppxIdleTaskTCBBuffer, StackType_t **ppxIdleTaskStackBuffer, uint32_t *pulIdleTaskStackSize );

/* Hook prototypes */
void vApplicationStackOverflowHook(xTaskHandle xTask, signed char *pcTaskName);

/* USER CODE BEGIN 4 */
void vApplicationStackOverflowHook(xTaskHandle xTask, signed char *pcTaskName)
{
   /* Run time stack overflow checking is performed if
   configCHECK_FOR_STACK_OVERFLOW is defined to 1 or 2. This hook function is
   called if a stack overflow is detected. */
   GPIOE->BSRR = GPIO_PIN_1;
}
/* USER CODE END 4 */

/* USER CODE BEGIN GET_IDLE_TASK_MEMORY */
static StaticTask_t xIdleTaskTCBBuffer;
static StackType_t xIdleStack[configMINIMAL_STACK_SIZE];

void vApplicationGetIdleTaskMemory( StaticTask_t **ppxIdleTaskTCBBuffer, StackType_t **ppxIdleTaskStackBuffer, uint32_t *pulIdleTaskStackSize )
{
  *ppxIdleTaskTCBBuffer = &xIdleTaskTCBBuffer;
  *ppxIdleTaskStackBuffer = &xIdleStack[0];
  *pulIdleTaskStackSize = configMINIMAL_STACK_SIZE;
  /* place for user code */
}
/* USER CODE END GET_IDLE_TASK_MEMORY */

/************************ (C) COPYRIGHT STMicroelectronics *****END OF FILE****/
